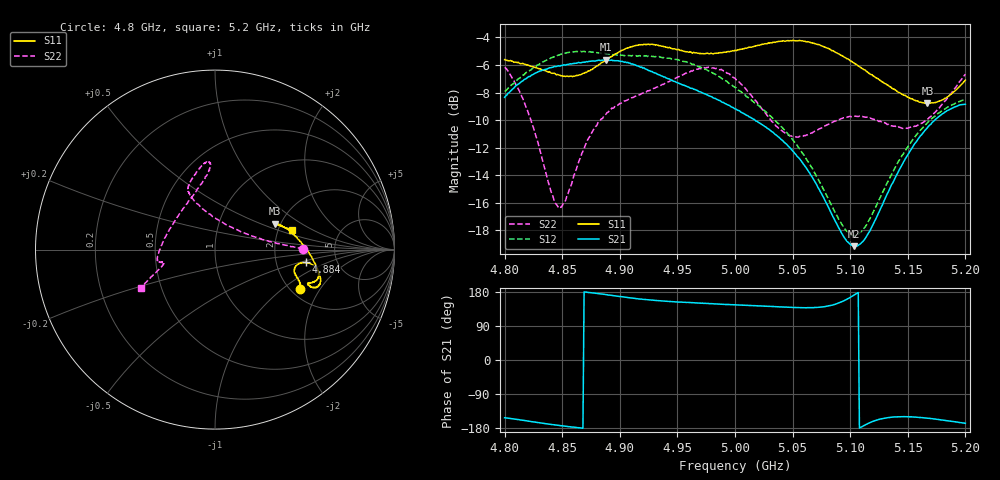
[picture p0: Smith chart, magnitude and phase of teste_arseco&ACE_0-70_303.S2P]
! Network Analyzer HP8722D
! Hewlett-Packard
! Data name: Linha & Wilkinson
! Saver's name: Rodrigo Anjos
! Comments: Teste da utilização de aquisição
! continua pelo VNA HP8722D
! Time and date: 8/5/2025 15:17
!  Frequency  S11  S21  S12  S22
# HZ  S  MA R 50
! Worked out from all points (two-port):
!   401 points, 4.8 GHz to 5.2 GHz, reference 50 ohm
!   highest |S21| = -5.62 dB at 4.888 GHz (marker M1); lowest = -19.2 dB at 5.103 GHz (marker M2)
!   |S21| within 3 dB of the highest: start of sweep to 4.987 GHz
!   lowest |S11| = -8.8 dB at 5.167 GHz (marker M3), VSWR 2.14, Z = 93.3 + j31 ohm
!   |S11| at or under -10 dB: nowhere
!   |S22| runs from -16.4 to -6.2 dB; largest |S21 - S12| = 1.1
!   S11 on the Smith chart (normalised r, x): 4.8 GHz: 2.23, -1.36; 4.884 GHz: 2.96, -0.57; 5.2 GHz: 2.37, +0.66
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4.8e9  0.5242 -25.0  0.3824 -152.4  0.4025 7.0  0.4913 0.6
4.818e9  0.5036 -21.0  0.4456 -159.9  0.4675 4.3  0.358 5.2
4.841e9  0.4678 -17.4  0.4913 -170.4  0.533 0.7  0.1706 37.8
4.846e9  0.463 -16.2  0.4966 -172.2  0.5434 -0.3  0.154 55.6
4.853e9  0.4551 -14.5  0.501 -174.7  0.5533 -1.5  0.1616 81.0
4.867e9  0.4642 -10.5  0.5116 -179.7  0.5601 -3.4  0.2388 107.1
4.884e9  0.5106 -8.0  0.5211 174.0  0.5528 -4.5  0.3195 113.9
4.888e9  0.5206 -8.4  0.5238 172.4  0.5509 -4.5  0.332 114.7
4.911e9  0.5856 -11.6  0.5055 163.3  0.5426 -3.5  0.3815 113.0
4.934e9  0.5892 -16.9  0.4621 156.5  0.538 -4.3  0.4185 106.9
4.975e9  0.5518 -20.0  0.3919 149.2  0.4833 -7.9  0.4902 95.0
5e9  0.5669 -21.0  0.347 145.5  0.4155 -7.5  0.4484 94.1
5.041e9  0.6126 -19.1  0.2673 140.0  0.2975 0.1  0.2888 128.4
5.067e9  0.6024 -14.2  0.1963 138.2  0.2117 8.4  0.284 165.0
5.092e9  0.5438 -5.2  0.124 153.0  0.1337 32.0  0.3199 -174.3
5.103e9  0.5107 0.0  0.1101 170.7  0.1205 52.6  0.3261 -170.3
5.114e9  0.4761 5.5  0.1191 -169.9  0.1312 73.9  0.3242 -168.0
5.134e9  0.4189 15.8  0.1768 -151.5  0.1937 94.0  0.302 -166.3
5.15e9  0.3831 21.5  0.2364 -149.8  0.2523 98.4  0.295 -165.1
5.167e9  0.3633 23.4  0.2964 -153.5  0.3088 99.2  0.3177 -161.8
5.183e9  0.3804 20.7  0.3391 -159.7  0.3488 99.0  0.3732 -157.6
5.2e9  0.4418 14.6  0.3611 -167.1  0.3761 99.7  0.4639 -152.4
